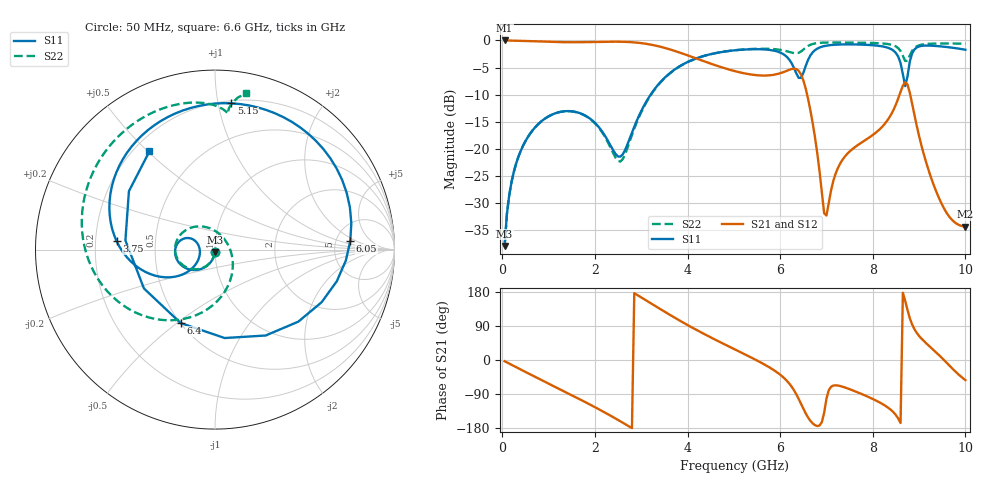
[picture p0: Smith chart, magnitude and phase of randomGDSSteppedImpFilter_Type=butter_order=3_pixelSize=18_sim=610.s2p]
! freq	dB(S11)	phase(S11)	dB(S12)	phase(S12)
!  dB(S21)	phase(S21)	dB(S22)	phase(S22)
!S-par simulation data
#  GHz  S  DB  R 50
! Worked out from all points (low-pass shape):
!   200 points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, 50 MHz to 10 GHz, reference 50 ohm
!   highest |S21| = 0.00 dB at 50 MHz (marker M1); lowest = -34.3 dB at 10 GHz (marker M2)
!   |S21| within 3 dB of the highest: start of sweep to 4.085 GHz
!   lowest |S11| = -37.9 dB at 50 MHz (marker M3), VSWR 1.03, Z = 49.9 - j1.27 ohm
!   |S11| at or under -10 dB: start of sweep to 3.203 GHz
!   |S22| runs from -37.9 to -0.4 dB; largest |S21 - S12| = 0
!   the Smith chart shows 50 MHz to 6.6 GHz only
!   S11 on the Smith chart (normalised r, x): 50 MHz: 1.00, -0.03; 3.75 GHz: 0.29, +0.04; 5.15 GHz: 0.22, +1.09; 6.05 GHz: 6.83, +1.53; 6.4 GHz: 0.50, -0.52; 6.6 GHz: 0.26, +0.51
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0.05  -37.90 -92.2  -0.00 -3.2  -0.00 -3.2  -37.93 -92.9
0.2  -26.07 -102.5  -0.03 -12.7  -0.03 -12.7  -26.07 -102.9
0.55  -17.84 -124.3  -0.12 -34.6  -0.12 -34.6  -17.84 -125.8
1.75  -13.67 168.5  -0.32 -108.5  -0.32 -108.5  -13.71 153.9
2.55  -21.42 -171.8  -0.24 -161.8  -0.24 -161.8  -22.33 26.8
3.4  -7.82 -162.1  -1.13 135.3  -1.13 135.3  -7.89 -110.4
3.75  -5.19 175.2  -2.01 109.7  -2.01 109.7  -5.23 -138.1
5.05  -1.79 90.2  -5.72 26.3  -5.72 26.3  -1.78 141.7
5.15  -1.72 83.6  -5.93 20.3  -5.93 20.3  -1.70 136.5
6.05  -2.44 3.6  -5.91 -43.8  -5.91 -43.8  -1.80 92.3
6.25  -4.24 -40.8  -5.26 -70.7  -5.26 -70.7  -2.24 85.5
6.4  -6.90 -115.1  -5.60 -102.8  -5.60 -102.8  -2.28 84.6
6.6  -3.64 123.8  -10.65 -151.2  -10.65 -151.2  -1.04 78.8
6.7  -2.22 92.5  -15.13 -166.9  -15.13 -166.9  -0.66 72.6
7  -0.96 43.9  -32.29 -102.2  -32.29 -102.2  -0.39 55.6
7.6  -0.73 -3.7  -19.76 -81.7  -19.76 -81.7  -0.41 27.4
8.35  -1.42 -51.2  -14.31 -127.5  -14.31 -127.5  -0.70 -6.7
8.65  -6.23 -73.1  -8.34 177.4  -8.34 177.4  -2.83 -22.3
8.75  -6.63 -34.4  -8.13 131.9  -8.13 131.9  -3.76 -9.7
8.85  -2.38 -40.3  -11.67 93.6  -11.67 93.6  -1.90 -7.3
9.2  -0.95 -74.9  -23.78 39.0  -23.78 39.0  -0.63 -26.2
10  -1.71 -129.8  -34.34 -53.2  -34.34 -53.2  -0.60 -55.7
